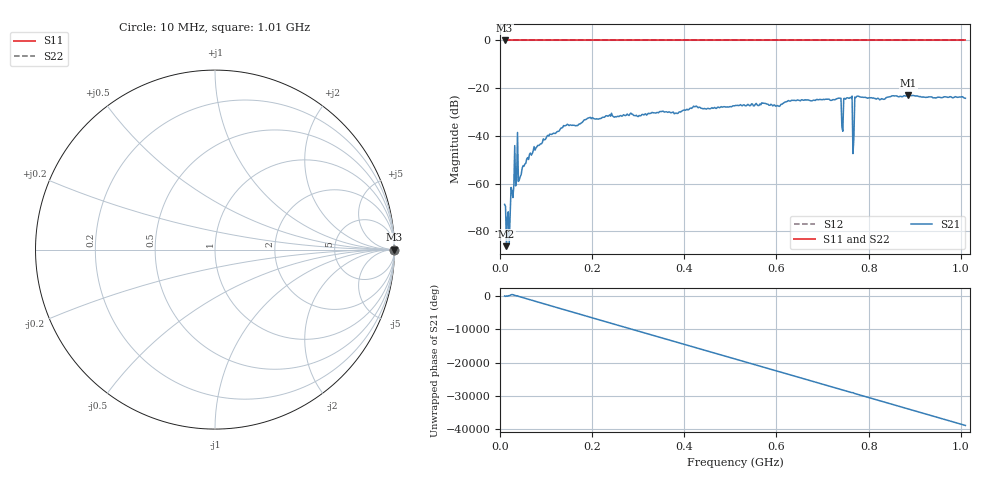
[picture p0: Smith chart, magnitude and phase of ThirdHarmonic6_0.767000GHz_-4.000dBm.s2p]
! 8/16/2025 1:37:08 AM
! C:\ANRITSUVNA\TEMP\TEMP.S2P
! CHANNEL.1
! TR.MEASUREMENT
! RAW.DATA
! RF.CORRECTION.OFF
! AVERAGING.OFF
! IF.BANDWIDTH: 5KHZ
! SWEEPTYPE:  FREQ.SWEEP(Linear)
! Reference Plane Port Info
! PORT:  PORT1  PORT2
! DISTANCE:  0  m  0  m
! TIME:  0  s  0  s
! PHASE.OFFSET:  0  deg.  0  deg.
! LOSS:  0  dB  0  dB
! REF.LOSS:  0  dB  0  dB
! REF.FREQ:  0  Hz  0  Hz
! Power Info
! POWER:  -20  dBm  -20  dBm
! EFF.POWER:  -20  dBm  -20  dBm
! SOURCE.ATTEN:  0  dB  0  dB
! TEST.ATTEN:  0  dB  0  dB
# GHZ S RI R 50.0
! FREQ.GHZ  S11RE  S11IM  S21RE  S21IM  S12RE  S12IM  S22RE  S22IM
!; PortSelection: Port_12
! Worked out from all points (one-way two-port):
!   501 points, 10 MHz to 1.01 GHz, reference 50 ohm
!   highest |S21| = -22.86 dB at 886 MHz (marker M1); lowest = -86.2 dB at 14 MHz (marker M2)
!   lowest |S11| = 0.0 dB at 10 MHz (marker M3)
!   |S11| at or under -10 dB: nowhere
!   |S22| runs from 0.0 to 0.0 dB; largest |S21 - S12| = 1.1
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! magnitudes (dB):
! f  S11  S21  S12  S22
! 10 MHz  0.0  -68.7  0.0  0.0
! 14 MHz  0.0  -86.2  0.0  0.0
! 18 MHz  0.0  -71.8  0.0  0.0
! 34 MHz  0.0  -60.9  0.0  0.0
! 44 MHz  0.0  -57.0  0.0  0.0
! 62 MHz  0.0  -49.9  0.0  0.0
! 104 MHz  0.0  -39.8  0.0  0.0
! 178 MHz  0.0  -34.4  0.0  0.0
! 344 MHz  0.0  -30.3  0.0  0.0
! 510 MHz  0.0  -27.3  0.0  0.0
! 678 MHz  0.0  -25.3  0.0  0.0
! 736 MHz  0.0  -24.2  0.0  0.0
! 740 MHz  0.0  -24.3  0.0  0.0
! 746 MHz  0.0  -24.3  0.0  0.0
! 750 MHz  0.0  -24.6  0.0  0.0
! 760 MHz  0.0  -23.9  0.0  0.0
! 764 MHz  0.0  -23.3  0.0  0.0
! 770 MHz  0.0  -23.7  0.0  0.0
! 774 MHz  0.0  -23.5  0.0  0.0
! 844 MHz  0.0  -23.7  0.0  0.0
! 886 MHz  0.0  -22.9  0.0  0.0
! 1.01 GHz  0.0  -24.2  0.0  0.0
